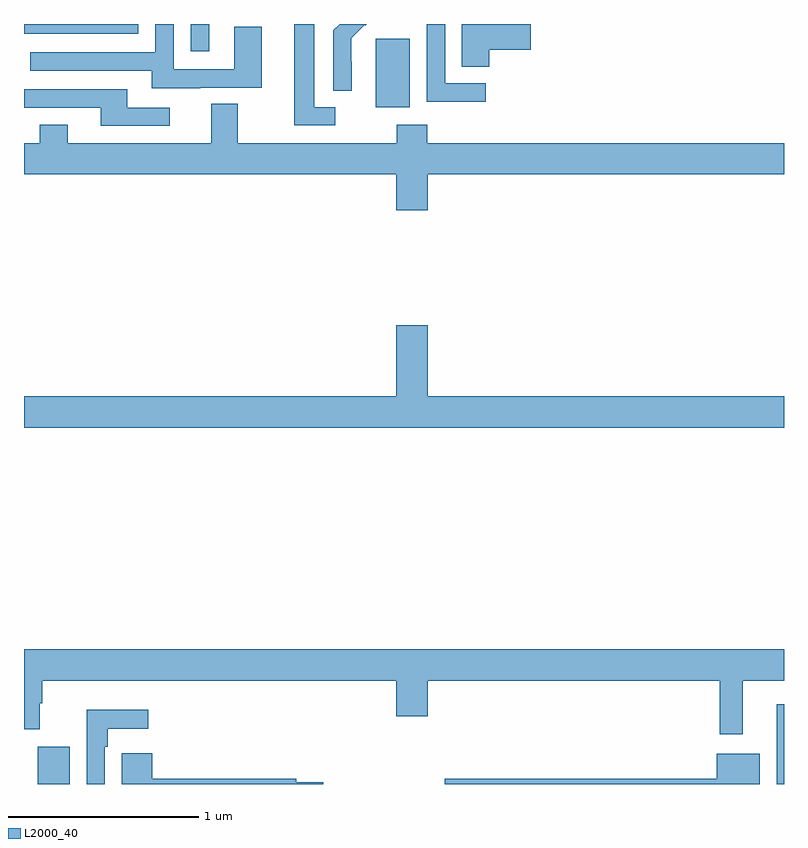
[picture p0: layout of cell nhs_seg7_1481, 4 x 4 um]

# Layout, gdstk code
import gdstk
lib = gdstk.Library(unit=1e-6, precision=1e-09)
def R(c, l, rs):  # rectangles x0, y0, x1, y1
    for r in rs: c.add(gdstk.rectangle(r[:2], r[2:], *l))
def P(c, l, *ps):  # polygons
    for p in ps: c.add(gdstk.Polygon(p, *l))
L2000_40 = (2000, 40)

nhs_seg7_1481 = lib.new_cell('nhs_seg7_1481')
R(nhs_seg7_1481, L2000_40, [(211.073,1072,211.24,1072.195), (214.961,1072,215,1072.42), (212.852,1075.562,213.031,1075.923), (211.878,1075.857,211.975,1076), (211,1075.95,211.602,1076)])
P(nhs_seg7_1481, L2000_40, [(213.43,1075.689),(213.216,1075.689),(213.216,1076),(213.12,1076),(213.12,1075.591),(213.43,1075.591)],
  [(212.724,1075.802),(212.723,1075.802),(212.723,1075.925),(212.793,1075.995),(212.796,1075.992),(212.804,1076),(212.662,1076),(212.628,1075.966),(212.628,1075.648),(212.724,1075.648)],
  [(211.927,1075.665),(212.251,1075.665),(212.251,1075.985),(212.106,1075.985),(212.106,1075.761),(211.788,1075.761),(211.788,1076),(211.692,1076),(211.692,1075.851),(211.033,1075.851),(211.033,1075.755),(211.673,1075.755),(211.673,1075.661),(211.927,1075.661)],
  [(212.638,1075.563),(212.527,1075.563),(212.527,1076),(212.423,1076),(212.423,1075.467),(212.638,1075.467)],
  [(213.449,1075.865),(213.667,1075.865),(213.667,1076),(213.305,1076),(213.305,1075.774),(213.449,1075.774)],
  [(211.768,1075.56),(211.543,1075.56),(211.543,1075.656),(211,1075.656),(211,1075.56),(211.403,1075.56),(211.403,1075.464),(211.768,1075.464)],
  [(213.124,1075.208),(215,1075.208),(215,1075.372),(213.122,1075.372),(213.122,1075.471),(212.962,1075.471),(212.962,1075.372),(212.125,1075.372),(212.125,1075.58),(211.985,1075.58),(211.985,1075.372),(211.231,1075.372),(211.231,1075.471),(211.084,1075.471),(211.084,1075.372),(211,1075.372),(211,1075.208),(212.96,1075.208),(212.96,1075.02),(213.124,1075.02)],
  [(215,1074.04),(213.124,1074.04),(213.124,1074.415),(212.96,1074.415),(212.96,1074.04),(211,1074.04),(211,1073.876),(215,1073.876)],
  [(214.783,1072.544),(215,1072.544),(215,1072.708),(211,1072.708),(211,1072.287),(211.084,1072.287),(211.084,1072.424),(211.097,1072.424),(211.097,1072.544),(212.96,1072.544),(212.96,1072.356),(213.124,1072.356),(213.124,1072.544),(214.662,1072.544),(214.662,1072.263),(214.783,1072.263)],
  [(211.425,1072.196),(211.441,1072.196),(211.441,1072.292),(211.654,1072.292),(211.654,1072.39),(211.329,1072.39),(211.329,1072),(211.425,1072)],
  [(212.574,1072.008),(212.432,1072.008),(212.432,1072.028),(211.676,1072.028),(211.676,1072.162),(211.515,1072.162),(211.515,1072.049),(211.514,1072.049),(211.514,1072),(212.574,1072)],
  [(214.873,1072.159),(214.646,1072.159),(214.646,1072.028),(213.215,1072.028),(213.215,1072),(214.873,1072)])

lib.write_gds('nhs_seg7_1481.gds')
